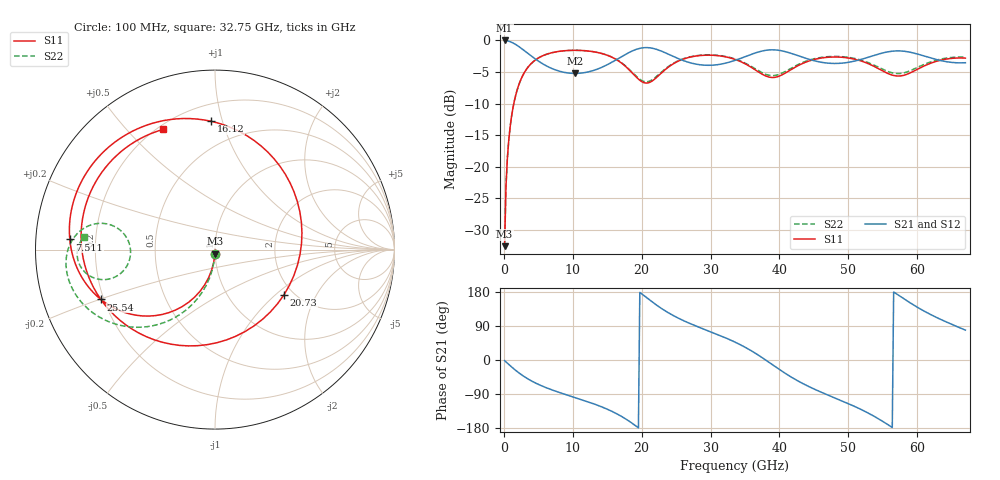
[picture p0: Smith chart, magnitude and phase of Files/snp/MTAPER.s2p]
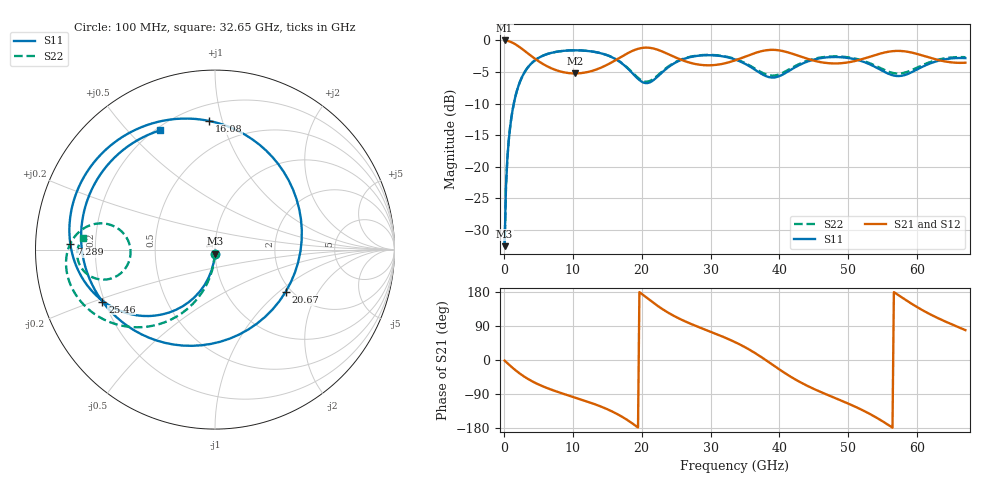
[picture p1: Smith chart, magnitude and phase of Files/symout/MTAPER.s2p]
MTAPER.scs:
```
simulator lang=local
global 0
NPORT0 1 0 2 0 nport file="D:\saves\Pycharm\HowToElementBuilder\Code\Files\snp\MTAPER.s2p"
PORT0 1 0 port r=50 num=1 type=sine rptstart=1 rpttimes=0
PORT1 2 0 port r=50 num=2 type=sine rptstart=1 rpttimes=0
SPSweep sp start=100000000 stop=67000000000 step=669000000.0 file="D:\saves\Pycharm\HowToElementBuilder\Code\Files\symout\MTAPER.s2p"
DEFAULT_OPTIONS options tnom=27 temp=27  acout=0 fast_spice=0 reltol=1.000000e-003 rawfmt=nutascii
```
Files/snp/MTAPER.s2p:
! Created with skrf (http://scikit-rf.org).
# Hz S RI R 50.0
!freq ReS11 ImS11 ReS21 ImS21 ReS12 ImS12 ReS22 ImS22
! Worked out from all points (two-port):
!   335 points, 100 MHz to 67 GHz, reference 50 ohm
!   highest |S21| = 0.00 dB at 100 MHz (marker M1); lowest = -5.2 dB at 10.32 GHz (marker M2)
!   |S21| within 3 dB of the highest: 33.96 GHz to 44.33 GHz (10.37 GHz wide, 26.5 % of centre); 51.87 GHz to 62.7 GHz (10.82 GHz wide, 18.9 % of centre)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
!   lowest |S11| = -32.6 dB at 100 MHz (marker M3), VSWR 1.05, Z = 49.9 - j2.33 ohm
!   |S11| at or under -10 dB: start of sweep to 1.44 GHz
!   |S22| runs from -32.6 to -1.6 dB; largest |S21 - S12| = 4.5e-12
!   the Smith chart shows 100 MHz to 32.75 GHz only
!   S11 on the Smith chart (normalised r, x): 100 MHz: 1.00, -0.05; 7.511 GHz: 0.10, +0.03; 16.12 GHz: 0.31, +0.92; 20.73 GHz: 1.78, -1.14; 25.54 GHz: 0.19, -0.20; 32.75 GHz: 0.22, +0.64
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1e8  -0.000815 -0.0234  0.9992 -0.0294  0.9992 -0.0294  -0.000699 -0.0234
7.511078e9  -0.809 0.0565  0.0777 -0.5778  0.0777 -0.5778  -0.7665 -0.2647
1.031527e10  -0.7489 0.3697  -0.0861 -0.5409  -0.0861 -0.5409  -0.8272 -0.1165
1.612395e10  -0.0222 0.7151  -0.5274 -0.4502  -0.5274 -0.4502  -0.7056 0.1317
2.073084e10  0.3836 -0.2528  -0.8447 0.2381  -0.8447 0.2381  -0.4703 -0.0153
2.553802e10  -0.6361 -0.2776  -0.2248 0.6731  -0.2248 0.6731  -0.6823 -0.1545
3.27488e10  -0.2884 0.6698  0.3965 0.5441  0.3965 0.5441  -0.7315 0.0675
3.355e10  -0.1435 0.6929  0.4719 0.5101  0.4719 0.5101  -0.7084 0.0864
4.576826e10  -0.7135 -0.101  0.087 -0.6708  0.087 -0.6708  -0.7253 -0.0786
5.638413e10  0.527 0.0648  -0.8215 -0.0265  -0.8215 -0.0265  -0.5527 0.0281
6.7e10  -0.6732 0.2674  0.1292 0.6533  0.1292 0.6533  -0.7364 0.00992
Files/symout/MTAPER.s2p:
! Touchstone Ver. 1.0
! Number of ports is 2
# Hz  S RI  R  50
! SCATTERING PARAMETERS  :
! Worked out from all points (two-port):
!   336 points, 100 MHz to 67 GHz, reference 50 ohm
!   highest |S21| = 0.00 dB at 100 MHz (marker M1); lowest = -5.2 dB at 10.28 GHz (marker M2)
!   |S21| within 3 dB of the highest: 33.97 GHz to 44.33 GHz (10.37 GHz wide, 26.5 % of centre); 51.87 GHz to 62.7 GHz (10.82 GHz wide, 18.9 % of centre)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
!   lowest |S11| = -32.6 dB at 100 MHz (marker M3), VSWR 1.05, Z = 49.9 - j2.33 ohm
!   |S11| at or under -10 dB: start of sweep to 1.44 GHz
!   |S22| runs from -32.6 to -1.6 dB; largest |S21 - S12| = 0
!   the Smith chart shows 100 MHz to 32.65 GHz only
!   S11 on the Smith chart (normalised r, x): 100 MHz: 1.00, -0.05; 7.289 GHz: 0.11, +0.02; 16.08 GHz: 0.31, +0.91; 20.67 GHz: 1.86, -1.11; 25.46 GHz: 0.19, -0.21; 32.65 GHz: 0.22, +0.62
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1e8  -0.000815 -0.0234  0.9992 -0.0294  0.9992 -0.0294  -0.000699 -0.0234
7.289254e9  -0.8059 0.0308  0.0929 -0.5817  0.0929 -0.5817  -0.7575 -0.2768
1.028478e10  -0.7504 0.3665  -0.0844 -0.5411  -0.0844 -0.5411  -0.8269 -0.1181
1.607612e10  -0.0317 0.7168  -0.5221 -0.4526  -0.5221 -0.4526  -0.7082 0.1306
2.066925e10  0.393 -0.2366  -0.848 0.2252  -0.848 0.2252  -0.4705 -0.0105
2.546209e10  -0.6274 -0.2892  -0.2337 0.673  -0.2337 0.673  -0.679 -0.1558
3.265134e10  -0.3048 0.6647  0.3877 0.5475  0.3877 0.5475  -0.7338 0.0649
3.364985e10  -0.1244 0.6931  0.4817 0.505  0.4817 0.505  -0.7051 0.0883
4.583164e10  -0.7158 -0.0903  0.081 -0.6704  0.081 -0.6704  -0.7264 -0.077
5.641582e10  0.527 0.0564  -0.8219 -0.0211  -0.8219 -0.0211  -0.5523 0.0268
6.7e10  -0.6732 0.2674  0.1292 0.6533  0.1292 0.6533  -0.7364 0.00992
